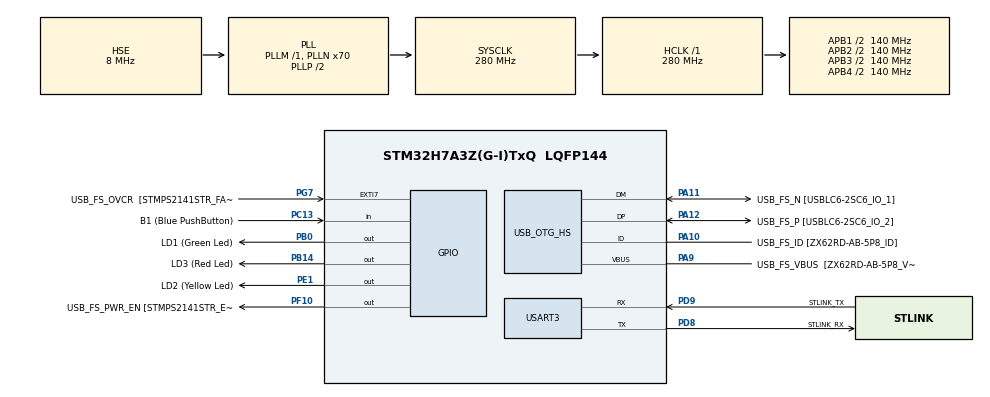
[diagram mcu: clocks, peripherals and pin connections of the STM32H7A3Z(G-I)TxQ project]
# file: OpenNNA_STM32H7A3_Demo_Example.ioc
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FREERTOS.Tasks01=defaultTask,24,1280,StartDefaultTask,Default,NULL,Dynamic,NULL,NULL
FREERTOS.configENABLE_FPU=1
FREERTOS.configGENERATE_RUN_TIME_STATS=1
FREERTOS.configTOTAL_HEAP_SIZE=102400
FREERTOS.configUSE_STATS_FORMATTING_FUNCTIONS=1
Mcu.Family=STM32H7
Mcu.Name=STM32H7A3Z(G-I)TxQ
Mcu.Package=LQFP144
NVIC.PriorityGroup=NVIC_PRIORITYGROUP_4
NVIC.TIM3_IRQn=true\:5\:0\:false\:false\:true\:true\:true\:true\:true
PA10.GPIO_Label=USB_FS_ID [ZX62RD-AB-5P8_ID]
PA10.Mode=OTG/Dual-Role-Device-FS
PA10.Signal=USB_OTG_HS_ID
PA11.GPIO_Label=USB_FS_N [USBLC6-2SC6_IO_1]
PA11.Mode=OTG/Dual-Role-Device-FS
PA11.Signal=USB_OTG_HS_DM
PA12.GPIO_Label=USB_FS_P [USBLC6-2SC6_IO_2]
PA12.Mode=OTG/Dual-Role-Device-FS
PA12.Signal=USB_OTG_HS_DP
PA9.GPIO_Label=USB_FS_VBUS  [ZX62RD-AB-5P8_VBUS]
PA9.Mode=Activate_VBUS_FS
PA9.Signal=USB_OTG_HS_VBUS
PB0.GPIO_Label=LD1 (Green Led)
PB0.Signal=GPIO_Output
PB14.GPIO_Label=LD3 (Red Led)
PB14.Signal=GPIO_Output
PC13.GPIO_Label=B1 (Blue PushButton)
PC13.Signal=GPIO_Input
PC14-OSC32_IN.GPIO_Label=OSC32_IN
PC14-OSC32_IN.Mode=LSE-External-Oscillator
PC14-OSC32_IN.Signal=RCC_OSC32_IN
PC15-OSC32_OUT.GPIO_Label=OSC32_OUT
PC15-OSC32_OUT.Mode=LSE-External-Oscillator
PC15-OSC32_OUT.Signal=RCC_OSC32_OUT
PD8.GPIO_Label=STLINK_RX
PD8.Mode=Asynchronous
PD8.Signal=USART3_TX
PD9.GPIO_Label=STLINK_TX
PD9.Mode=Asynchronous
PD9.Signal=USART3_RX
PE1.GPIO_Label=LD2 (Yellow Led)
PE1.Signal=GPIO_Output
PF10.GPIO_Label=USB_FS_PWR_EN [STMPS2141STR_EN]
PF10.Signal=GPIO_Output
PG7.GPIO_Label=USB_FS_OVCR  [STMPS2141STR_FAULT]
PG7.Signal=GPXTI7
PH0-OSC_IN.GPIO_Label=PH0-MCU
PH0-OSC_IN.Mode=HSE-External-Clock-Source
PH0-OSC_IN.Signal=RCC_OSC_IN
PH1-OSC_OUT.GPIO_Label=PH1-MCU
PH1-OSC_OUT.Signal=RCC_OSC_OUT
ProjectManager.HeapSize=0x200
ProjectManager.StackSize=0x400
ProjectManager.TargetToolchain=STM32CubeIDE
RCC.ADCFreq_Value=16125000
RCC.APB1Freq_Value=140000000
RCC.APB2Freq_Value=140000000
RCC.APB3Freq_Value=140000000
RCC.APB4Freq_Value=140000000
RCC.CDPPRE=RCC_APB3_DIV2
RCC.CDPPRE1=RCC_APB1_DIV2
RCC.CDPPRE2=RCC_APB2_DIV2
RCC.CortexFreq_Value=280000000
RCC.DIVM1=1
RCC.DIVM3=1
RCC.DIVN1=70
RCC.DIVN3=24
RCC.DIVQ1=4
RCC.HCLKFreq_Value=280000000
RCC.HSE_VALUE=8000000
RCC.PLLFRACN=0
RCC.PLLSourceVirtual=RCC_PLLSOURCE_HSE
RCC.PWR_Regulator_Voltage_Scale=PWR_REGULATOR_VOLTAGE_SCALE0
RCC.SRDPPRE=RCC_APB4_DIV2
RCC.SYSCLKFreq_VALUE=280000000
RCC.SYSCLKSource=RCC_SYSCLKSOURCE_PLLCLK
RCC.SupplySource=PWR_DIRECT_SMPS_SUPPLY
RCC.USBCLockSelection=RCC_USBCLKSOURCE_HSI48
RCC.USBFreq_Value=48000000
STMicroelectronics.X-CUBE-ALGOBUILD.1.3.0.LibraryCcDSPOoLibraryJjDSPOoLibrary=true
TIM3.AutoReloadPreload=TIM_AUTORELOAD_PRELOAD_ENABLE
TIM3.Period=50-1
TIM3.Prescaler=280-1
USART3.VirtualMode-Asynchronous=VM_ASYNC
VP_FREERTOS_VS_CMSIS_V2.Mode=CMSIS_V2
VP_STMicroelectronics.X-CUBE-ALGOBUILD_VS_DSPOoLibraryJjLibrary_1.3.0_1.3.0.Mode=DSPOoLibraryJjLibrary
VP_TIM3_VS_ClockSourceINT.Mode=Internal
board=NUCLEO-H7A3ZI-Q

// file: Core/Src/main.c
/* USER CODE BEGIN Header */
/**
  ******************************************************************************
  * @file           : main.c
  * @brief          : Main program body
  ******************************************************************************
  * @attention
  *
  * Copyright (c) 2022 STMicroelectronics.
  * All rights reserved.
  *
  * This software is licensed under terms that can be found in the LICENSE file
  * in the root directory of this software component.
  * If no LICENSE file comes with this software, it is provided AS-IS.
  *
  ******************************************************************************
  */
/* USER CODE END Header */
#include "main.h"
#include "cmsis_os.h"
/* USER CODE BEGIN Includes */
#include "opennna_demo_example.h"
//#include "opennna_demo_dense-mnist.h"
//#include "opennna_demo_conv(LeNet5)-mnist.h"
#include "opennna_demo_conv(OpenNNA-Paper)-mnist.h"
/* USER CODE END Includes */

TIM_HandleTypeDef htim3;

UART_HandleTypeDef huart3;

/* Definitions for defaultTask */
osThreadId_t defaultTaskHandle;
const osThreadAttr_t defaultTask_attributes = {
  .name = "defaultTask",
  .stack_size = 1280 * 4,
  .priority = (osPriority_t) osPriorityNormal,
};

void SystemClock_Config(void);
static void MX_GPIO_Init(void);
static void MX_USART3_UART_Init(void);
static void MX_USB_OTG_HS_USB_Init(void);
static void MX_TIM3_Init(void);
void StartDefaultTask(void *argument);

/* USER CODE BEGIN 0 */
/* Function: OpenNNA_Printf 重定向
 * Note:stm32cubeIDE+HAL库
 */
#include "stdio.h"
//_write函數在syscalls.c中， 使用__weak定义， 所以可以直接在其他文件中定义_write函數
//Printf输出重定向
__attribute__((weak)) int _write(int file, char *ptr, int len)
{
	 if(HAL_UART_Transmit(&huart3,ptr,len,0xffff) != HAL_OK)
	 {
		 Error_Handler();
	 }
}
/* USER CODE END 0 */

int main(void)
{

  /* MCU Configuration--------------------------------------------------------*/

  /* Reset of all peripherals, Initializes the Flash interface and the Systick. */
  HAL_Init();

  /* Configure the system clock */
  SystemClock_Config();

  /* Initialize all configured peripherals */
  MX_GPIO_Init();
  MX_USART3_UART_Init();
  MX_USB_OTG_HS_USB_Init();
  MX_TIM3_Init();

  /* Init scheduler */
  osKernelInitialize();

  /* Create the thread(s) */
  /* creation of defaultTask */
  defaultTaskHandle = osThreadNew(StartDefaultTask, NULL, &defaultTask_attributes);

  /* Start scheduler */
  osKernelStart();

  /* We should never get here as control is now taken by the scheduler */
  /* Infinite loop */
  while (1)
  {

  }
}

void SystemClock_Config(void)
{
  RCC_OscInitTypeDef RCC_OscInitStruct = {0};
  RCC_ClkInitTypeDef RCC_ClkInitStruct = {0};

  /*AXI clock gating */
  RCC->CKGAENR = 0xFFFFFFFF;

  /** Supply configuration update enable
  */
  HAL_PWREx_ConfigSupply(PWR_DIRECT_SMPS_SUPPLY);

  /** Configure the main internal regulator output voltage
  */
  __HAL_PWR_VOLTAGESCALING_CONFIG(PWR_REGULATOR_VOLTAGE_SCALE0);

  while(!__HAL_PWR_GET_FLAG(PWR_FLAG_VOSRDY)) {}

  /** Initializes the RCC Oscillators according to the specified parameters
  * in the RCC_OscInitTypeDef structure.
  */
  RCC_OscInitStruct.OscillatorType = RCC_OSCILLATORTYPE_HSI48|RCC_OSCILLATORTYPE_HSE;
  RCC_OscInitStruct.HSEState = RCC_HSE_BYPASS;
  RCC_OscInitStruct.HSI48State = RCC_HSI48_ON;
  RCC_OscInitStruct.PLL.PLLState = RCC_PLL_ON;
  RCC_OscInitStruct.PLL.PLLSource = RCC_PLLSOURCE_HSE;
  RCC_OscInitStruct.PLL.PLLM = 1;
  RCC_OscInitStruct.PLL.PLLN = 70;
  RCC_OscInitStruct.PLL.PLLP = 2;
  RCC_OscInitStruct.PLL.PLLQ = 4;
  RCC_OscInitStruct.PLL.PLLR = 2;
  RCC_OscInitStruct.PLL.PLLRGE = RCC_PLL1VCIRANGE_3;
  RCC_OscInitStruct.PLL.PLLVCOSEL = RCC_PLL1VCOWIDE;
  RCC_OscInitStruct.PLL.PLLFRACN = 0;
  if (HAL_RCC_OscConfig(&RCC_OscInitStruct) != HAL_OK)
  {
    Error_Handler();
  }

  /** Initializes the CPU, AHB and APB buses clocks
  */
  RCC_ClkInitStruct.ClockType = RCC_CLOCKTYPE_HCLK|RCC_CLOCKTYPE_SYSCLK
                              |RCC_CLOCKTYPE_PCLK1|RCC_CLOCKTYPE_PCLK2
                              |RCC_CLOCKTYPE_D3PCLK1|RCC_CLOCKTYPE_D1PCLK1;
  RCC_ClkInitStruct.SYSCLKSource = RCC_SYSCLKSOURCE_PLLCLK;
  RCC_ClkInitStruct.SYSCLKDivider = RCC_SYSCLK_DIV1;
  RCC_ClkInitStruct.AHBCLKDivider = RCC_HCLK_DIV1;
  RCC_ClkInitStruct.APB3CLKDivider = RCC_APB3_DIV2;
  RCC_ClkInitStruct.APB1CLKDivider = RCC_APB1_DIV2;
  RCC_ClkInitStruct.APB2CLKDivider = RCC_APB2_DIV2;
  RCC_ClkInitStruct.APB4CLKDivider = RCC_APB4_DIV2;

  if (HAL_RCC_ClockConfig(&RCC_ClkInitStruct, FLASH_LATENCY_7) != HAL_OK)
  {
    Error_Handler();
  }
}

static void MX_TIM3_Init(void)
{

  TIM_ClockConfigTypeDef sClockSourceConfig = {0};
  TIM_MasterConfigTypeDef sMasterConfig = {0};

  htim3.Instance = TIM3;
  htim3.Init.Prescaler = 280-1;
  htim3.Init.CounterMode = TIM_COUNTERMODE_UP;
  htim3.Init.Period = 50-1;
  htim3.Init.ClockDivision = TIM_CLOCKDIVISION_DIV1;
  htim3.Init.AutoReloadPreload = TIM_AUTORELOAD_PRELOAD_ENABLE;
  if (HAL_TIM_Base_Init(&htim3) != HAL_OK)
  {
    Error_Handler();
  }
  sClockSourceConfig.ClockSource = TIM_CLOCKSOURCE_INTERNAL;
  if (HAL_TIM_ConfigClockSource(&htim3, &sClockSourceConfig) != HAL_OK)
  {
    Error_Handler();
  }
  sMasterConfig.MasterOutputTrigger = TIM_TRGO_RESET;
  sMasterConfig.MasterSlaveMode = TIM_MASTERSLAVEMODE_DISABLE;
  if (HAL_TIMEx_MasterConfigSynchronization(&htim3, &sMasterConfig) != HAL_OK)
  {
    Error_Handler();
  }

}

static void MX_USART3_UART_Init(void)
{

  huart3.Instance = USART3;
  huart3.Init.BaudRate = 115200;
  huart3.Init.WordLength = UART_WORDLENGTH_8B;
  huart3.Init.StopBits = UART_STOPBITS_1;
  huart3.Init.Parity = UART_PARITY_NONE;
  huart3.Init.Mode = UART_MODE_TX_RX;
  huart3.Init.HwFlowCtl = UART_HWCONTROL_NONE;
  huart3.Init.OverSampling = UART_OVERSAMPLING_16;
  huart3.Init.OneBitSampling = UART_ONE_BIT_SAMPLE_DISABLE;
  huart3.Init.ClockPrescaler = UART_PRESCALER_DIV1;
  huart3.AdvancedInit.AdvFeatureInit = UART_ADVFEATURE_NO_INIT;
  if (HAL_UART_Init(&huart3) != HAL_OK)
  {
    Error_Handler();
  }
  if (HAL_UARTEx_SetTxFifoThreshold(&huart3, UART_TXFIFO_THRESHOLD_1_8) != HAL_OK)
  {
    Error_Handler();
  }
  if (HAL_UARTEx_SetRxFifoThreshold(&huart3, UART_RXFIFO_THRESHOLD_1_8) != HAL_OK)
  {
    Error_Handler();
  }
  if (HAL_UARTEx_DisableFifoMode(&huart3) != HAL_OK)
  {
    Error_Handler();
  }

}

static void MX_USB_OTG_HS_USB_Init(void)
{

}

static void MX_GPIO_Init(void)
{
  GPIO_InitTypeDef GPIO_InitStruct = {0};

  /* GPIO Ports Clock Enable */
  __HAL_RCC_GPIOC_CLK_ENABLE();
  __HAL_RCC_GPIOF_CLK_ENABLE();
  __HAL_RCC_GPIOH_CLK_ENABLE();
  __HAL_RCC_GPIOB_CLK_ENABLE();
  __HAL_RCC_GPIOD_CLK_ENABLE();
  __HAL_RCC_GPIOG_CLK_ENABLE();
  __HAL_RCC_GPIOA_CLK_ENABLE();
  __HAL_RCC_GPIOE_CLK_ENABLE();

  /*Configure GPIO pin Output Level */
  HAL_GPIO_WritePin(USB_FS_PWR_EN_GPIO_Port, USB_FS_PWR_EN_Pin, GPIO_PIN_RESET);

  /*Configure GPIO pin Output Level */
  HAL_GPIO_WritePin(GPIOB, LD1_Pin|LD3_Pin, GPIO_PIN_RESET);

  /*Configure GPIO pin Output Level */
  HAL_GPIO_WritePin(LD2_GPIO_Port, LD2_Pin, GPIO_PIN_RESET);

  /*Configure GPIO pin : B1_Pin */
  GPIO_InitStruct.Pin = B1_Pin;
  GPIO_InitStruct.Mode = GPIO_MODE_INPUT;
  GPIO_InitStruct.Pull = GPIO_NOPULL;
  HAL_GPIO_Init(B1_GPIO_Port, &GPIO_InitStruct);

  /*Configure GPIO pin : USB_FS_PWR_EN_Pin */
  GPIO_InitStruct.Pin = USB_FS_PWR_EN_Pin;
  GPIO_InitStruct.Mode = GPIO_MODE_OUTPUT_PP;
  GPIO_InitStruct.Pull = GPIO_NOPULL;
  GPIO_InitStruct.Speed = GPIO_SPEED_FREQ_LOW;
  HAL_GPIO_Init(USB_FS_PWR_EN_GPIO_Port, &GPIO_InitStruct);

  /*Configure GPIO pins : LD1_Pin LD3_Pin */
  GPIO_InitStruct.Pin = LD1_Pin|LD3_Pin;
  GPIO_InitStruct.Mode = GPIO_MODE_OUTPUT_PP;
  GPIO_InitStruct.Pull = GPIO_NOPULL;
  GPIO_InitStruct.Speed = GPIO_SPEED_FREQ_LOW;
  HAL_GPIO_Init(GPIOB, &GPIO_InitStruct);

  /*Configure GPIO pin : USB_FS_OVCR_Pin */
  GPIO_InitStruct.Pin = USB_FS_OVCR_Pin;
  GPIO_InitStruct.Mode = GPIO_MODE_IT_RISING;
  GPIO_InitStruct.Pull = GPIO_NOPULL;
  HAL_GPIO_Init(USB_FS_OVCR_GPIO_Port, &GPIO_InitStruct);

  /*Configure GPIO pin : USB_FS_VBUS_Pin */
  GPIO_InitStruct.Pin = USB_FS_VBUS_Pin;
  GPIO_InitStruct.Mode = GPIO_MODE_INPUT;
  GPIO_InitStruct.Pull = GPIO_NOPULL;
  HAL_GPIO_Init(USB_FS_VBUS_GPIO_Port, &GPIO_InitStruct);

  /*Configure GPIO pin : USB_FS_ID_Pin */
  GPIO_InitStruct.Pin = USB_FS_ID_Pin;
  GPIO_InitStruct.Mode = GPIO_MODE_AF_PP;
  GPIO_InitStruct.Pull = GPIO_NOPULL;
  GPIO_InitStruct.Speed = GPIO_SPEED_FREQ_LOW;
  GPIO_InitStruct.Alternate = GPIO_AF10_OTG1_HS;
  HAL_GPIO_Init(USB_FS_ID_GPIO_Port, &GPIO_InitStruct);

  /*Configure GPIO pins : USB_FS_N_Pin USB_FS_P_Pin */
  GPIO_InitStruct.Pin = USB_FS_N_Pin|USB_FS_P_Pin;
  GPIO_InitStruct.Mode = GPIO_MODE_AF_PP;
  GPIO_InitStruct.Pull = GPIO_NOPULL;
  GPIO_InitStruct.Speed = GPIO_SPEED_FREQ_LOW;
  HAL_GPIO_Init(GPIOA, &GPIO_InitStruct);

  /*Configure GPIO pin : LD2_Pin */
  GPIO_InitStruct.Pin = LD2_Pin;
  GPIO_InitStruct.Mode = GPIO_MODE_OUTPUT_PP;
  GPIO_InitStruct.Pull = GPIO_NOPULL;
  GPIO_InitStruct.Speed = GPIO_SPEED_FREQ_LOW;
  HAL_GPIO_Init(LD2_GPIO_Port, &GPIO_InitStruct);

}

/* USER CODE BEGIN 4 */
volatile unsigned long long FreeRTOSRunTimeTicks;
void configureTimerForRunTimeStats(void)
{
	HAL_TIM_Base_Start_IT(&htim3);
	FreeRTOSRunTimeTicks=0;
}

unsigned long getRunTimeCounterValue(void)
{
return FreeRTOSRunTimeTicks;
}
void HAL_TIM_PeriodElapsedCallback(TIM_HandleTypeDef *htim)
{
    if (htim == (&htim3))
    {
    	FreeRTOSRunTimeTicks++;
    }
}
char RunTimeInfo[400];		//保存任务运行时间信息
/* USER CODE END 4 */

void StartDefaultTask(void *argument)
{
  /* USER CODE BEGIN 5 */
  /* Infinite loop */
    /*****************第1步:创建神经网络对象**********************/
    struct layer * Network = NULL;
    Network = OpenNNA_CreateNetwork();
    OpenNNA_Demo_Conv_OpenNNAPaper(Network);
  for(;;)
  {
	  memset(RunTimeInfo,0,400);
	  //vTaskClearUsage();
      //printf("Free RTOS Test Task Begin!\r\n");
	  //OpenNNA_Demo_Example();
	  //OpenNNA_Demo_Dense_Mnist();
	  OpenNNA_Demo_Conv_OpenNNAPaper_Predict(Network);
	  //printf("Free RTOS Test Task end!\r\n");
      vTaskGetRunTimeStats(RunTimeInfo);
      //printf("Task Name\t\t\tRun Time\t\t\trun(%)\r\n");
      printf("%s\r\n",RunTimeInfo);
      printf("\r\n");
      osDelay(3000);
  }
  /* USER CODE END 5 */
}

void Error_Handler(void)
{
  __disable_irq();
  while (1)
  {
  }
}
